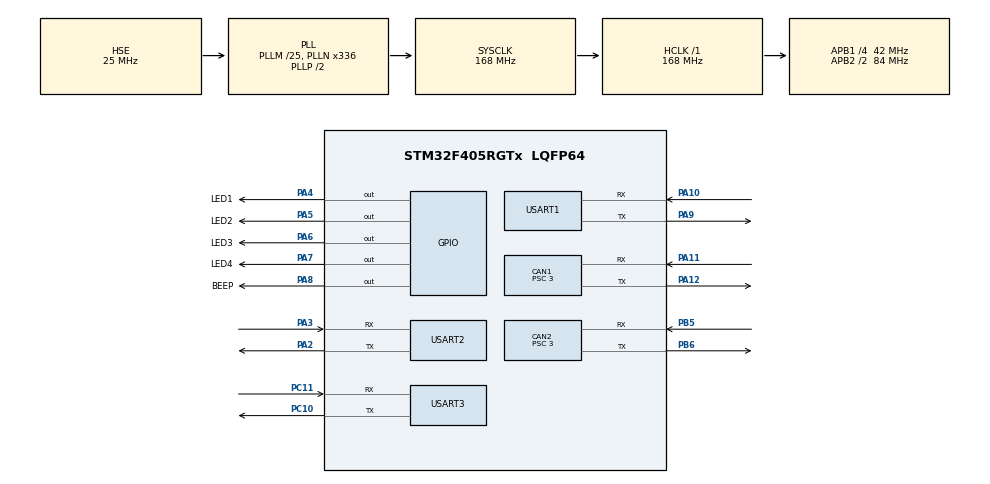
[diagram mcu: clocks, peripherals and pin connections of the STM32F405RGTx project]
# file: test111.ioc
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CAN1.AWUM=ENABLE
CAN1.BS1=CAN_BS1_9TQ
CAN1.BS2=CAN_BS2_4TQ
CAN1.CalculateBaudRate=1000000
CAN1.CalculateTimeBit=1000
CAN1.CalculateTimeQuantum=71.42857142857143
CAN1.Prescaler=3
CAN2.AWUM=ENABLE
CAN2.BS1=CAN_BS1_9TQ
CAN2.BS2=CAN_BS2_4TQ
CAN2.CalculateBaudRate=1000000
CAN2.CalculateTimeBit=1000
CAN2.CalculateTimeQuantum=71.42857142857143
CAN2.Mode=CAN_MODE_NORMAL
CAN2.Prescaler=3
Dma.Request0=USART1_RX
Dma.Request1=USART1_TX
Dma.Request2=USART2_RX
Dma.Request3=USART2_TX
Dma.Request4=USART3_RX
Dma.Request5=USART3_TX
Dma.USART1_RX.0.Direction=DMA_PERIPH_TO_MEMORY
Dma.USART1_RX.0.FIFOMode=DMA_FIFOMODE_DISABLE
Dma.USART1_RX.0.Instance=DMA2_Stream2
Dma.USART1_RX.0.MemDataAlignment=DMA_MDATAALIGN_BYTE
Dma.USART1_RX.0.MemInc=DMA_MINC_ENABLE
Dma.USART1_RX.0.Mode=DMA_NORMAL
Dma.USART1_RX.0.PeriphDataAlignment=DMA_PDATAALIGN_BYTE
Dma.USART1_RX.0.PeriphInc=DMA_PINC_DISABLE
Dma.USART1_RX.0.Priority=DMA_PRIORITY_LOW
Dma.USART1_TX.1.Direction=DMA_MEMORY_TO_PERIPH
Dma.USART1_TX.1.FIFOMode=DMA_FIFOMODE_DISABLE
Dma.USART1_TX.1.Instance=DMA2_Stream7
Dma.USART1_TX.1.MemDataAlignment=DMA_MDATAALIGN_BYTE
Dma.USART1_TX.1.MemInc=DMA_MINC_ENABLE
Dma.USART1_TX.1.Mode=DMA_NORMAL
Dma.USART1_TX.1.PeriphDataAlignment=DMA_PDATAALIGN_BYTE
Dma.USART1_TX.1.PeriphInc=DMA_PINC_DISABLE
Dma.USART1_TX.1.Priority=DMA_PRIORITY_LOW
Dma.USART2_RX.2.Direction=DMA_PERIPH_TO_MEMORY
Dma.USART2_RX.2.FIFOMode=DMA_FIFOMODE_DISABLE
Dma.USART2_RX.2.Instance=DMA1_Stream5
Dma.USART2_RX.2.MemDataAlignment=DMA_MDATAALIGN_BYTE
Dma.USART2_RX.2.MemInc=DMA_MINC_ENABLE
Dma.USART2_RX.2.Mode=DMA_NORMAL
Dma.USART2_RX.2.PeriphDataAlignment=DMA_PDATAALIGN_BYTE
Dma.USART2_RX.2.PeriphInc=DMA_PINC_DISABLE
Dma.USART2_RX.2.Priority=DMA_PRIORITY_LOW
Dma.USART2_TX.3.Direction=DMA_MEMORY_TO_PERIPH
Dma.USART2_TX.3.FIFOMode=DMA_FIFOMODE_DISABLE
Dma.USART2_TX.3.Instance=DMA1_Stream6
Dma.USART2_TX.3.MemDataAlignment=DMA_MDATAALIGN_BYTE
Dma.USART2_TX.3.MemInc=DMA_MINC_ENABLE
Dma.USART2_TX.3.Mode=DMA_NORMAL
Dma.USART2_TX.3.PeriphDataAlignment=DMA_PDATAALIGN_BYTE
Dma.USART2_TX.3.PeriphInc=DMA_PINC_DISABLE
Dma.USART2_TX.3.Priority=DMA_PRIORITY_LOW
Dma.USART3_RX.4.Direction=DMA_PERIPH_TO_MEMORY
Dma.USART3_RX.4.FIFOMode=DMA_FIFOMODE_DISABLE
Dma.USART3_RX.4.Instance=DMA1_Stream1
Dma.USART3_RX.4.MemDataAlignment=DMA_MDATAALIGN_BYTE
Dma.USART3_RX.4.MemInc=DMA_MINC_ENABLE
Dma.USART3_RX.4.Mode=DMA_NORMAL
Dma.USART3_RX.4.PeriphDataAlignment=DMA_PDATAALIGN_BYTE
Dma.USART3_RX.4.PeriphInc=DMA_PINC_DISABLE
Dma.USART3_RX.4.Priority=DMA_PRIORITY_LOW
Dma.USART3_TX.5.Direction=DMA_MEMORY_TO_PERIPH
Dma.USART3_TX.5.FIFOMode=DMA_FIFOMODE_DISABLE
Dma.USART3_TX.5.Instance=DMA1_Stream3
Dma.USART3_TX.5.MemDataAlignment=DMA_MDATAALIGN_BYTE
Dma.USART3_TX.5.MemInc=DMA_MINC_ENABLE
Dma.USART3_TX.5.Mode=DMA_NORMAL
Dma.USART3_TX.5.PeriphDataAlignment=DMA_PDATAALIGN_BYTE
Dma.USART3_TX.5.PeriphInc=DMA_PINC_DISABLE
Dma.USART3_TX.5.Priority=DMA_PRIORITY_LOW
Mcu.Family=STM32F4
Mcu.Name=STM32F405RGTx
Mcu.Package=LQFP64
NVIC.CAN1_RX0_IRQn=true\:5\:0\:true\:false\:true\:true\:true\:true
NVIC.CAN1_RX1_IRQn=true\:5\:0\:true\:false\:true\:true\:true\:true
NVIC.CAN1_TX_IRQn=true\:5\:0\:true\:false\:true\:true\:true\:true
NVIC.CAN2_RX0_IRQn=true\:5\:0\:true\:false\:true\:true\:true\:true
NVIC.CAN2_RX1_IRQn=true\:5\:0\:true\:false\:true\:true\:true\:true
NVIC.CAN2_TX_IRQn=true\:5\:0\:true\:false\:true\:true\:true\:true
NVIC.DMA1_Stream1_IRQn=true\:0\:0\:false\:false\:true\:false\:true\:true
NVIC.DMA1_Stream3_IRQn=true\:0\:0\:false\:false\:true\:false\:true\:true
NVIC.DMA1_Stream5_IRQn=true\:0\:0\:false\:false\:true\:false\:true\:true
NVIC.DMA1_Stream6_IRQn=true\:0\:0\:false\:false\:true\:false\:true\:true
NVIC.DMA2_Stream2_IRQn=true\:0\:0\:false\:false\:true\:false\:true\:true
NVIC.DMA2_Stream7_IRQn=true\:0\:0\:false\:false\:true\:false\:true\:true
NVIC.PriorityGroup=NVIC_PRIORITYGROUP_4
NVIC.TIM1_UP_TIM10_IRQn=true\:0\:0\:false\:false\:true\:true\:true\:true
NVIC.TIM8_UP_TIM13_IRQn=true\:15\:0\:false\:false\:true\:false\:true\:true
NVIC.TimeBase=TIM8_UP_TIM13_IRQn
NVIC.TimeBaseIP=TIM8
NVIC.USART1_IRQn=true\:5\:0\:true\:false\:true\:true\:true\:true
NVIC.USART2_IRQn=true\:5\:0\:true\:false\:true\:true\:true\:true
NVIC.USART3_IRQn=true\:0\:0\:false\:false\:true\:true\:true\:true
PA10.Mode=Asynchronous
PA10.Signal=USART1_RX
PA11.Mode=CAN_Activate
PA11.Signal=CAN1_RX
PA12.Mode=CAN_Activate
PA12.Signal=CAN1_TX
PA13.Mode=Serial_Wire
PA13.Signal=SYS_JTMS-SWDIO
PA14.Mode=Serial_Wire
PA14.Signal=SYS_JTCK-SWCLK
PA2.Mode=Asynchronous
PA2.Signal=USART2_TX
PA3.Mode=Asynchronous
PA3.Signal=USART2_RX
PA4.GPIO_Label=LED1
PA4.GPIO_Speed=GPIO_SPEED_FREQ_HIGH
PA4.Signal=GPIO_Output
PA5.GPIO_Label=LED2
PA5.GPIO_Speed=GPIO_SPEED_FREQ_HIGH
PA5.Signal=GPIO_Output
PA6.GPIO_Label=LED3
PA6.GPIO_Speed=GPIO_SPEED_FREQ_HIGH
PA6.Signal=GPIO_Output
PA7.GPIO_Label=LED4
PA7.GPIO_Speed=GPIO_SPEED_FREQ_HIGH
PA7.Signal=GPIO_Output
PA8.GPIO_Label=BEEP
PA8.Signal=GPIO_Output
PA9.Mode=Asynchronous
PA9.Signal=USART1_TX
PB5.Mode=CAN_Activate
PB5.Signal=CAN2_RX
PB6.Mode=CAN_Activate
PB6.Signal=CAN2_TX
PC10.Mode=Asynchronous
PC10.Signal=USART3_TX
PC11.Mode=Asynchronous
PC11.Signal=USART3_RX
PH0-OSC_IN.Mode=HSE-External-Oscillator
PH0-OSC_IN.Signal=RCC_OSC_IN
PH1-OSC_OUT.Mode=HSE-External-Oscillator
PH1-OSC_OUT.Signal=RCC_OSC_OUT
ProjectManager.HeapSize=0x200
ProjectManager.StackSize=0x400
ProjectManager.TargetToolchain=MDK-ARM V5.32
RCC.48MHZClocksFreq_Value=84000000
RCC.AHBFreq_Value=168000000
RCC.APB1CLKDivider=RCC_HCLK_DIV4
RCC.APB1Freq_Value=42000000
RCC.APB1TimFreq_Value=84000000
RCC.APB2CLKDivider=RCC_HCLK_DIV2
RCC.APB2Freq_Value=84000000
RCC.APB2TimFreq_Value=168000000
RCC.CortexFreq_Value=168000000
RCC.HCLKFreq_Value=168000000
RCC.HSE_VALUE=25000000
RCC.HSI_VALUE=16000000
RCC.LSE_VALUE=32768
RCC.PLLM=25
RCC.PLLN=336
RCC.PLLSourceVirtual=RCC_PLLSOURCE_HSE
RCC.SYSCLKFreq_VALUE=168000000
RCC.SYSCLKSource=RCC_SYSCLKSOURCE_PLLCLK
RCC.VCOOutputFreq_Value=336000000
TIM1.Period=9999
TIM1.Prescaler=167
USART1.VirtualMode=VM_ASYNC
USART2.VirtualMode=VM_ASYNC
USART3.VirtualMode=VM_ASYNC
VP_SYS_VS_tim8.Mode=TIM8
VP_TIM1_VS_ClockSourceINT.Mode=Internal
board=custom

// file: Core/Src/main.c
/* USER CODE BEGIN Header */
/**
  ******************************************************************************
  * @file           : main.c
  * @brief          : Main program body
  ******************************************************************************
  * @attention
  *
  * Copyright (c) 2025 STMicroelectronics.
  * All rights reserved.
  *
  * This software is licensed under terms that can be found in the LICENSE file
  * in the root directory of this software component.
  * If no LICENSE file comes with this software, it is provided AS-IS.
  *
  ******************************************************************************
  */
/* USER CODE END Header */
#include "main.h"
#include "can.h"
#include "dma.h"
#include "tim.h"
#include "usart.h"
#include "gpio.h"

/* USER CODE BEGIN Includes */
#include "beep.h"
#include "led.h"
#include "stdio.h"
/* USER CODE END Includes */

/* USER CODE BEGIN PV */
static uint8_t CAN_TxData[8] = {'O', 'K', 0, 0, 0, 0, 0, 0};
static uint32_t CAN_TxMailBox = 0;
static CAN_TxHeaderTypeDef CAN_TxHeader = {
	.StdId = 0x123,
	.ExtId = 0x00,
	.IDE   = CAN_ID_STD,
	.RTR   = CAN_RTR_DATA,
	.DLC   = 8,
};
/* USER CODE END PV */

void SystemClock_Config(void);

/* USER CODE BEGIN 0 */
/**
 * @brief CAN测试发送：CAN1 和 CAN2 各发一帧 "OK"
 */
static void CAN_SendTest(void)
{
	if (HAL_CAN_GetTxMailboxesFreeLevel(&hcan1) > 0) {
		HAL_CAN_AddTxMessage(&hcan1, &CAN_TxHeader, CAN_TxData, &CAN_TxMailBox);
	}
	if (HAL_CAN_GetTxMailboxesFreeLevel(&hcan2) > 0) {
		HAL_CAN_AddTxMessage(&hcan2, &CAN_TxHeader, CAN_TxData, &CAN_TxMailBox);
	}
}
/* USER CODE END 0 */

int main(void)
{

  /* MCU Configuration--------------------------------------------------------*/

  /* Reset of all peripherals, Initializes the Flash interface and the Systick. */
  HAL_Init();

  /* Configure the system clock */
  SystemClock_Config();

  /* Initialize all configured peripherals */
  MX_GPIO_Init();
  MX_DMA_Init();
  MX_CAN1_Init();
  MX_CAN2_Init();
  MX_TIM1_Init();
  MX_USART1_UART_Init();
  MX_USART2_UART_Init();
  MX_USART3_UART_Init();
  /* USER CODE BEGIN 2 */
	BEEP_Setup(); // 上电蜂鸣器自检
  /* USER CODE END 2 */

  /* Infinite loop */
  /* USER CODE BEGIN WHILE */
  while (1)
  {
	usart_test();   // 串口回环测试：短接成功则对应 LED 点亮
	CAN_SendTest(); // CAN1 / CAN2 持续发送 "OK" 用于板级检测
	HAL_Delay(500);

	// LED测试
//	led_test();

	// 串口发送测试
//	uint8_t tx_msg[] = "Debug Test!\r\n";
//	HAL_StatusTypeDef tx_status;
//	tx_status = HAL_UART_Transmit(&huart1, tx_msg, sizeof(tx_msg)-1, 100);

    /* USER CODE END WHILE */

  }
}

void SystemClock_Config(void)
{
  RCC_OscInitTypeDef RCC_OscInitStruct = {0};
  RCC_ClkInitTypeDef RCC_ClkInitStruct = {0};

  /** Configure the main internal regulator output voltage
  */
  __HAL_RCC_PWR_CLK_ENABLE();
  __HAL_PWR_VOLTAGESCALING_CONFIG(PWR_REGULATOR_VOLTAGE_SCALE1);

  /** Initializes the RCC Oscillators according to the specified parameters
  * in the RCC_OscInitTypeDef structure.
  */
  RCC_OscInitStruct.OscillatorType = RCC_OSCILLATORTYPE_HSE;
  RCC_OscInitStruct.HSEState = RCC_HSE_ON;
  RCC_OscInitStruct.PLL.PLLState = RCC_PLL_ON;
  RCC_OscInitStruct.PLL.PLLSource = RCC_PLLSOURCE_HSE;
  RCC_OscInitStruct.PLL.PLLM = 25;
  RCC_OscInitStruct.PLL.PLLN = 336;
  RCC_OscInitStruct.PLL.PLLP = RCC_PLLP_DIV2;
  RCC_OscInitStruct.PLL.PLLQ = 4;
  if (HAL_RCC_OscConfig(&RCC_OscInitStruct) != HAL_OK)
  {
    Error_Handler();
  }

  /** Initializes the CPU, AHB and APB buses clocks
  */
  RCC_ClkInitStruct.ClockType = RCC_CLOCKTYPE_HCLK|RCC_CLOCKTYPE_SYSCLK
                              |RCC_CLOCKTYPE_PCLK1|RCC_CLOCKTYPE_PCLK2;
  RCC_ClkInitStruct.SYSCLKSource = RCC_SYSCLKSOURCE_PLLCLK;
  RCC_ClkInitStruct.AHBCLKDivider = RCC_SYSCLK_DIV1;
  RCC_ClkInitStruct.APB1CLKDivider = RCC_HCLK_DIV4;
  RCC_ClkInitStruct.APB2CLKDivider = RCC_HCLK_DIV2;

  if (HAL_RCC_ClockConfig(&RCC_ClkInitStruct, FLASH_LATENCY_5) != HAL_OK)
  {
    Error_Handler();
  }
}

void HAL_TIM_PeriodElapsedCallback(TIM_HandleTypeDef *htim)
{
  if (htim->Instance == TIM8)
  {
    HAL_IncTick();
  }
  /* USER CODE BEGIN Callback 1 */
	if (htim->Instance == TIM1){
	}
  /* USER CODE END Callback 1 */
}

void Error_Handler(void)
{
  __disable_irq();
  while (1)
  {
  }
}
